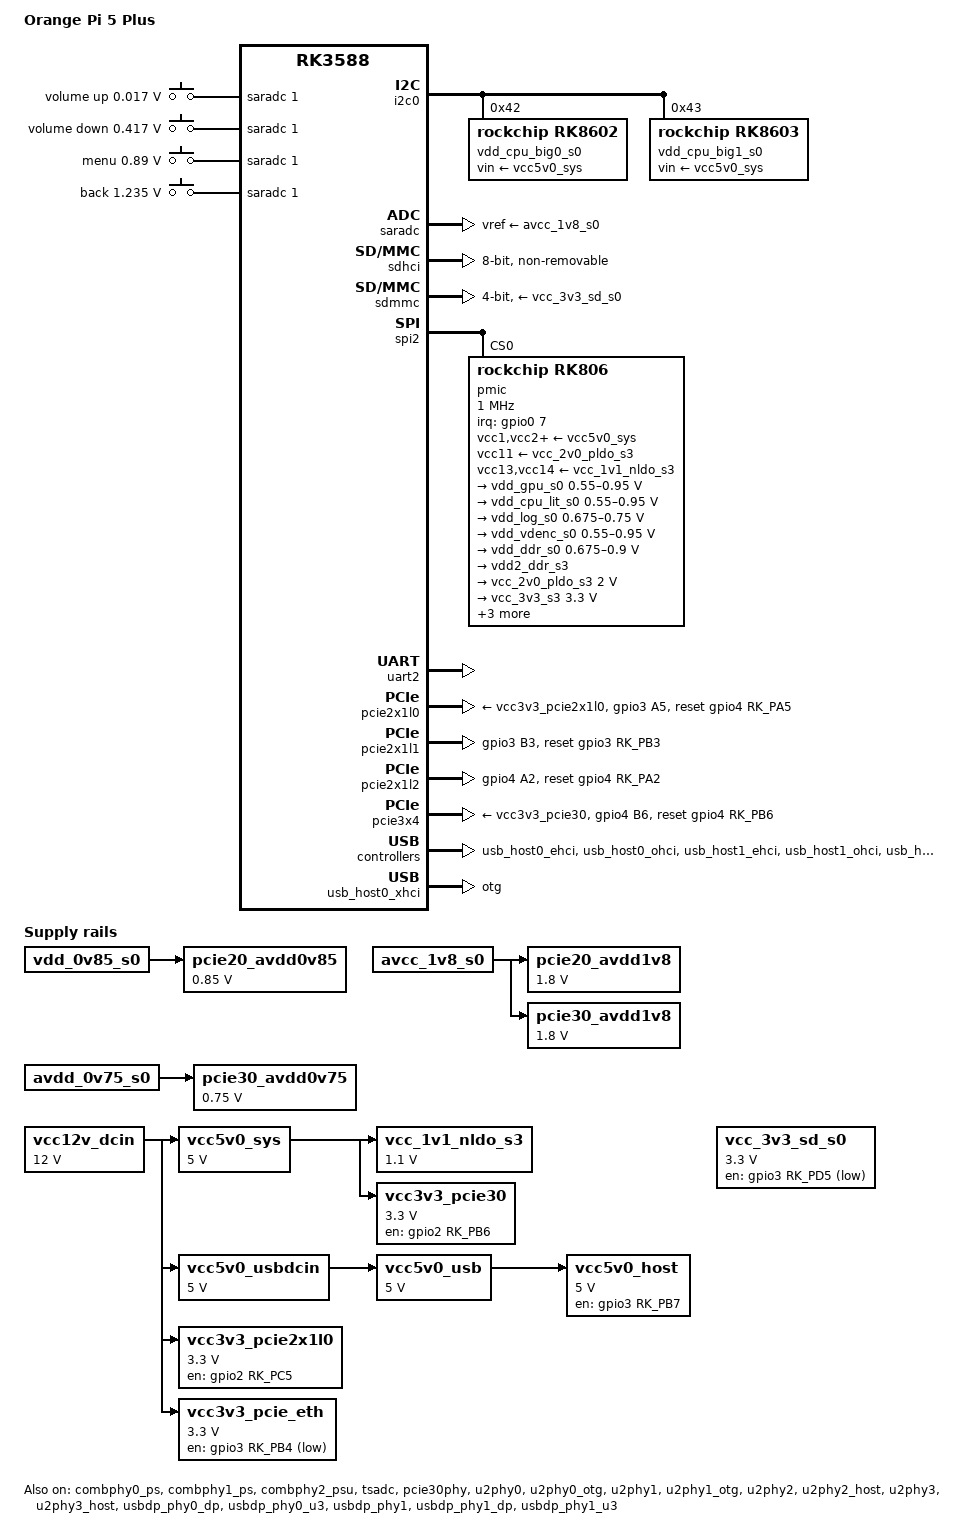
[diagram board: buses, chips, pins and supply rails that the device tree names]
// SPDX-License-Identifier: (GPL-2.0+ OR MIT)

/dts-v1/;

#include <dt-bindings/pinctrl/rockchip.h>
#include <dt-bindings/gpio/gpio.h>
#include <dt-bindings/input/input.h>
#include <dt-bindings/usb/pd.h>
#include "rk3588.dtsi"

/ {
	model = "Orange Pi 5 Plus";
	compatible = "xunlong,orangepi-5-plus", "rockchip,rk3588";

	aliases {
		mmc0 = &sdhci;
		mmc1 = &sdmmc;
		serial2 = &uart2;
	};

	chosen {
		stdout-path = "serial2:1500000n8";
	};

	adc_keys: adc-keys {
		compatible = "adc-keys";
		io-channels = <&saradc 1>;
		io-channel-names = "buttons";
		keyup-threshold-microvolt = <1800000>;
		poll-interval = <100>;

		vol-up-key {
			label = "volume up";
			linux,code = <KEY_VOLUMEUP>;
			press-threshold-microvolt = <17000>;
		};

		vol-down-key {
			label = "volume down";
			linux,code = <KEY_VOLUMEDOWN>;
			press-threshold-microvolt = <417000>;
		};

		menu-key {
			label = "menu";
			linux,code = <KEY_MENU>;
			press-threshold-microvolt = <890000>;
		};

		back-key {
			label = "back";
			linux,code = <KEY_BACK>;
			press-threshold-microvolt = <1235000>;
		};
	};

	vcc12v_dcin: vcc12v-dcin-regulator {
		compatible = "regulator-fixed";
		regulator-name = "vcc12v_dcin";
		regulator-always-on;
		regulator-boot-on;
		regulator-min-microvolt = <12000000>;
		regulator-max-microvolt = <12000000>;
	};

	vcc5v0_sys: vcc5v0-sys-regulator {
		compatible = "regulator-fixed";
		regulator-name = "vcc5v0_sys";
		regulator-always-on;
		regulator-boot-on;
		regulator-min-microvolt = <5000000>;
		regulator-max-microvolt = <5000000>;
		vin-supply = <&vcc12v_dcin>;
	};

	vcc_1v1_nldo_s3: vcc-1v1-nldo-s3-regulator {
		compatible = "regulator-fixed";
		regulator-name = "vcc_1v1_nldo_s3";
		regulator-always-on;
		regulator-boot-on;
		regulator-min-microvolt = <1100000>;
		regulator-max-microvolt = <1100000>;
		vin-supply = <&vcc5v0_sys>;
	};

	vcc_3v3_sd_s0: vcc-3v3-sd-s0-regulator {
		compatible = "regulator-fixed";
		regulator-name = "vcc_3v3_sd_s0";
		regulator-min-microvolt = <3300000>;
		regulator-max-microvolt = <3300000>;
		gpios = <&gpio3 RK_PD5 GPIO_ACTIVE_LOW>;
		pinctrl-names = "default";
		pinctrl-0 = <&sdmmc_pwr>;
		enable-active-low;
	};

	vcc5v0_usbdcin: vcc5v0-usbdcin-regulator {
		compatible = "regulator-fixed";
		regulator-name = "vcc5v0_usbdcin";
		regulator-always-on;
		regulator-boot-on;
		regulator-min-microvolt = <5000000>;
		regulator-max-microvolt = <5000000>;
		vin-supply = <&vcc12v_dcin>;
	};

	vcc5v0_usb: vcc5v0-usb-regulator {
		compatible = "regulator-fixed";
		regulator-name = "vcc5v0_usb";
		regulator-always-on;
		regulator-boot-on;
		regulator-min-microvolt = <5000000>;
		regulator-max-microvolt = <5000000>;
		vin-supply = <&vcc5v0_usbdcin>;
	};

	pcie20_avdd0v85: pcie20-avdd0v85-regulator {
		compatible = "regulator-fixed";
		regulator-name = "pcie20_avdd0v85";
		regulator-boot-on;
		regulator-always-on;
		regulator-min-microvolt = <850000>;
		regulator-max-microvolt = <850000>;
		vin-supply = <&vdd_0v85_s0>;
	};

	pcie20_avdd1v8: pcie20-avdd1v8-regulator {
		compatible = "regulator-fixed";
		regulator-name = "pcie20_avdd1v8";
		regulator-boot-on;
		regulator-always-on;
		regulator-min-microvolt = <1800000>;
		regulator-max-microvolt = <1800000>;
		vin-supply = <&avcc_1v8_s0>;
	};

	pcie30_avdd0v75: pcie30-avdd0v75-regulator {
		compatible = "regulator-fixed";
		regulator-name = "pcie30_avdd0v75";
		regulator-boot-on;
		regulator-always-on;
		regulator-min-microvolt = <750000>;
		regulator-max-microvolt = <750000>;
		vin-supply = <&avdd_0v75_s0>;
	};

	pcie30_avdd1v8: pcie30-avdd1v8-regulator {
		compatible = "regulator-fixed";
		regulator-name = "pcie30_avdd1v8";
		regulator-boot-on;
		regulator-always-on;
		regulator-min-microvolt = <1800000>;
		regulator-max-microvolt = <1800000>;
		vin-supply = <&avcc_1v8_s0>;
	};

	vcc3v3_pcie30: vcc3v3-pcie30-regulator {
		compatible = "regulator-fixed";
		regulator-name = "vcc3v3_pcie30";
		regulator-min-microvolt = <3300000>;
		regulator-max-microvolt = <3300000>;
		enable-active-high;
		gpios = <&gpio2 RK_PB6 GPIO_ACTIVE_HIGH>;
		startup-delay-us = <5000>;
		vin-supply = <&vcc5v0_sys>;
		pinctrl-names = "default";
		pinctrl-0 = <&pcie3_vcc3v3_en>;
	};

	vcc3v3_pcie2x1l0: vcc3v3-pcie2x1l0-regulator {
		compatible = "regulator-fixed";
		regulator-name = "vcc3v3_pcie2x1l0";
		regulator-min-microvolt = <3300000>;
		regulator-max-microvolt = <3300000>;
		enable-active-high;
		regulator-boot-on;
		regulator-always-on;
		gpios = <&gpio2 RK_PC5 GPIO_ACTIVE_HIGH>;
		pinctrl-names = "default";
		pinctrl-0 = <&pcie2_0_vcc3v3_en>;
		startup-delay-us = <50000>;
		vin-supply = <&vcc12v_dcin>;
	};

	vcc3v3_pcie_eth: vcc3v3-pcie-eth-regulator {
		compatible = "regulator-fixed";
		regulator-name = "vcc3v3_pcie_eth";
		regulator-min-microvolt = <3300000>;
		regulator-max-microvolt = <3300000>;
		regulator-boot-on;
		regulator-always-on;
		enable-active-low;
		gpios = <&gpio3 RK_PB4 GPIO_ACTIVE_LOW>;
		startup-delay-us = <50000>;
		vin-supply = <&vcc12v_dcin>;
	};

	vcc5v0_host: vcc5v0-host-regulator {
		compatible = "regulator-fixed";
		regulator-name = "vcc5v0_host";
		regulator-boot-on;
		regulator-always-on;
		regulator-min-microvolt = <5000000>;
		regulator-max-microvolt = <5000000>;
		enable-active-high;
		gpio = <&gpio3 RK_PB7 GPIO_ACTIVE_HIGH>;
		vin-supply = <&vcc5v0_usb>;
		pinctrl-names = "default";
		pinctrl-0 = <&vcc5v0_host_en>;
	};
};

&combphy0_ps {
	status = "okay";
};

&combphy1_ps {
	status = "okay";
};

&combphy2_psu {
	status = "okay";
};

&cpu_b0 {
	cpu-supply = <&vdd_cpu_big0_s0>;
	mem-supply = <&vdd_cpu_big0_mem_s0>;
};

&cpu_b1 {
	cpu-supply = <&vdd_cpu_big0_s0>;
	mem-supply = <&vdd_cpu_big0_mem_s0>;
};

&cpu_b2 {
	cpu-supply = <&vdd_cpu_big1_s0>;
	mem-supply = <&vdd_cpu_big1_mem_s0>;
};

&cpu_b3 {
	cpu-supply = <&vdd_cpu_big1_s0>;
	mem-supply = <&vdd_cpu_big1_mem_s0>;
};

&cpu_l0 {
	cpu-supply = <&vdd_cpu_lit_s0>;
	mem-supply = <&vdd_cpu_lit_mem_s0>;
};

&cpu_l1 {
	cpu-supply = <&vdd_cpu_lit_s0>;
	mem-supply = <&vdd_cpu_lit_mem_s0>;
};

&cpu_l2 {
	cpu-supply = <&vdd_cpu_lit_s0>;
	mem-supply = <&vdd_cpu_lit_mem_s0>;
};

&cpu_l3 {
	cpu-supply = <&vdd_cpu_lit_s0>;
	mem-supply = <&vdd_cpu_lit_mem_s0>;
};

&i2c0 {
	pinctrl-names = "default";
	pinctrl-0 = <&i2c0m2_xfer>;
	status = "okay";

	vdd_cpu_big0_s0: vdd_cpu_big0_mem_s0: regulator@42 {
		compatible = "rockchip,rk8602";
		reg = <0x42>;
		fcs,suspend-voltage-selector = <1>;
		regulator-name = "vdd_cpu_big0_s0";
		regulator-always-on;
		regulator-boot-on;
		regulator-min-microvolt = <550000>;
		regulator-max-microvolt = <1050000>;
		regulator-ramp-delay = <2300>;
		vin-supply = <&vcc5v0_sys>;

		regulator-state-mem {
			regulator-off-in-suspend;
		};
	};

	vdd_cpu_big1_s0: vdd_cpu_big1_mem_s0: regulator@43 {
		compatible = "rockchip,rk8603", "rockchip,rk8602";
		reg = <0x43>;
		fcs,suspend-voltage-selector = <1>;
		regulator-name = "vdd_cpu_big1_s0";
		regulator-always-on;
		regulator-boot-on;
		regulator-min-microvolt = <550000>;
		regulator-max-microvolt = <1050000>;
		regulator-ramp-delay = <2300>;
		vin-supply = <&vcc5v0_sys>;

		regulator-state-mem {
			regulator-off-in-suspend;
		};
	};
};

&pinctrl {
	pcie2 {
		pcie2_0_rst: pcie2-0-rst {
			rockchip,pins = <3 RK_PA5 RK_FUNC_GPIO &pcfg_pull_none>;
		};

		pcie2_1_rst: pcie2-1-rst {
			rockchip,pins = <3 RK_PB3 RK_FUNC_GPIO &pcfg_pull_none>;
		};

		pcie2_2_rst: pcie2-2-rst {
			rockchip,pins = <4 RK_PA2 RK_FUNC_GPIO &pcfg_pull_none>;
		};

		pcie2_0_vcc3v3_en: pcie2-0-vcc-en {
			rockchip,pins = <2 RK_PC5 RK_FUNC_GPIO &pcfg_pull_none>;
		};
	};

	pcie3 {
		pcie3_rst: pcie3-rst {
			rockchip,pins = <4 RK_PB6 RK_FUNC_GPIO &pcfg_pull_none>;
		};

		pcie3_vcc3v3_en: pcie3-vcc3v3-en {
			rockchip,pins = <2 RK_PB6 RK_FUNC_GPIO &pcfg_pull_none>;
		};
	};

	usb {
		vcc5v0_host_en: vcc5v0-host-en {
			rockchip,pins = <3 RK_PB7 RK_FUNC_GPIO &pcfg_pull_none>;
		};
	};

	sdmmc {
		sdmmc_pwr: sdmmc_pwr {
			rockchip,pins = <3 RK_PD5 RK_FUNC_GPIO &pcfg_pull_down>;
		};
	};
};

&saradc {
	vref-supply = <&avcc_1v8_s0>;
	status = "okay";
};

&sdhci {
	bus-width = <8>;
	no-sdio;
	no-sd;
	non-removable;
	max-frequency = <200000000>;
	mmc-hs400-1_8v;
	mmc-hs400-enhanced-strobe;
	status = "okay";
};

&sdmmc {
	max-frequency = <150000000>;
	no-sdio;
	no-mmc;
	bus-width = <4>;
	cap-mmc-highspeed;
	cap-sd-highspeed;
	disable-wp;
	sd-uhs-sdr104;
	vmmc-supply = <&vcc_3v3_sd_s0>;
	vqmmc-supply = <&vccio_sd_s0>;
	status = "okay";
};

&spi2 {
	status = "okay";
	assigned-clocks = <&cru CLK_SPI2>;
	assigned-clock-rates = <200000000>;
	pinctrl-names = "default";
	pinctrl-0 = <&spi2m2_cs0 &spi2m2_pins>;
	num-cs = <1>;

	pmic@0 {
		compatible = "rockchip,rk806";
		spi-max-frequency = <1000000>;
		reg = <0x0>;

		interrupt-parent = <&gpio0>;
		interrupts = <7 IRQ_TYPE_LEVEL_LOW>;

		pinctrl-names = "default";
		pinctrl-0 = <&pmic_pins>, <&rk806_dvs1_null>,
			    <&rk806_dvs2_null>, <&rk806_dvs3_null>;

		vcc1-supply = <&vcc5v0_sys>;
		vcc2-supply = <&vcc5v0_sys>;
		vcc3-supply = <&vcc5v0_sys>;
		vcc4-supply = <&vcc5v0_sys>;
		vcc5-supply = <&vcc5v0_sys>;
		vcc6-supply = <&vcc5v0_sys>;
		vcc7-supply = <&vcc5v0_sys>;
		vcc8-supply = <&vcc5v0_sys>;
		vcc9-supply = <&vcc5v0_sys>;
		vcc10-supply = <&vcc5v0_sys>;
		vcc11-supply = <&vcc_2v0_pldo_s3>;
		vcc12-supply = <&vcc5v0_sys>;
		vcc13-supply = <&vcc_1v1_nldo_s3>;
		vcc14-supply = <&vcc_1v1_nldo_s3>;
		vcca-supply = <&vcc5v0_sys>;

		gpio-controller;
		#gpio-cells = <2>;

		rk806_dvs1_null: dvs1-null-pins {
			pins = "gpio_pwrctrl2";
			function = "pin_fun0";
		};

		rk806_dvs2_null: dvs2-null-pins {
			pins = "gpio_pwrctrl2";
			function = "pin_fudr_moden0";
		};

		rk806_dvs3_null: dvs3-null-pins {
			pins = "gpio_pwrctrl3";
			function = "pin_fun0";
		};

		regulators {
			vdd_gpu_s0: vdd_gpu_mem_s0: dcdc-reg1 {
				regulator-boot-on;
				regulator-min-microvolt = <550000>;
				regulator-max-microvolt = <950000>;
				regulator-ramp-delay = <12500>;
				regulator-name = "vdd_gpu_s0";
				regulator-enable-ramp-delay = <400>;

				regulator-state-mem {
					regulator-off-in-suspend;
				};
			};

			vdd_cpu_lit_s0: vdd_cpu_lit_mem_s0: dcdc-reg2 {
				regulator-always-on;
				regulator-boot-on;
				regulator-min-microvolt = <550000>;
				regulator-max-microvolt = <950000>;
				regulator-ramp-delay = <12500>;
				regulator-name = "vdd_cpu_lit_s0";

				regulator-state-mem {
					regulator-off-in-suspend;
				};
			};

			vdd_log_s0: dcdc-reg3 {
				regulator-always-on;
				regulator-boot-on;
				regulator-min-microvolt = <675000>;
				regulator-max-microvolt = <750000>;
				regulator-ramp-delay = <12500>;
				regulator-name = "vdd_log_s0";

				regulator-state-mem {
					regulator-off-in-suspend;
					regulator-suspend-microvolt = <750000>;
				};
			};

			vdd_vdenc_s0: vdd_vdenc_mem_s0: dcdc-reg4 {
				regulator-always-on;
				regulator-boot-on;
				regulator-min-microvolt = <550000>;
				regulator-max-microvolt = <950000>;
				regulator-init-microvolt = <750000>;
				regulator-ramp-delay = <12500>;
				regulator-name = "vdd_vdenc_s0";

				regulator-state-mem {
					regulator-off-in-suspend;
				};
			};

			vdd_ddr_s0: dcdc-reg5 {
				regulator-always-on;
				regulator-boot-on;
				regulator-min-microvolt = <675000>;
				regulator-max-microvolt = <900000>;
				regulator-ramp-delay = <12500>;
				regulator-name = "vdd_ddr_s0";

				regulator-state-mem {
					regulator-off-in-suspend;
					regulator-suspend-microvolt = <850000>;
				};
			};

			vdd2_ddr_s3: dcdc-reg6 {
				regulator-always-on;
				regulator-boot-on;
				regulator-name = "vdd2_ddr_s3";

				regulator-state-mem {
					regulator-on-in-suspend;
				};
			};

			vcc_2v0_pldo_s3: dcdc-reg7 {
				regulator-always-on;
				regulator-boot-on;
				regulator-min-microvolt = <2000000>;
				regulator-max-microvolt = <2000000>;
				regulator-ramp-delay = <12500>;
				regulator-name = "vdd_2v0_pldo_s3";

				regulator-state-mem {
					regulator-on-in-suspend;
					regulator-suspend-microvolt = <2000000>;
				};
			};

			vcc_3v3_s3: dcdc-reg8 {
				regulator-always-on;
				regulator-boot-on;
				regulator-min-microvolt = <3300000>;
				regulator-max-microvolt = <3300000>;
				regulator-name = "vcc_3v3_s3";

				regulator-state-mem {
					regulator-on-in-suspend;
					regulator-suspend-microvolt = <3300000>;
				};
			};

			vddq_ddr_s0: dcdc-reg9 {
				regulator-always-on;
				regulator-boot-on;
				regulator-name = "vddq_ddr_s0";

				regulator-state-mem {
					regulator-off-in-suspend;
				};
			};

			vcc_1v8_s3: dcdc-reg10 {
				regulator-always-on;
				regulator-boot-on;
				regulator-min-microvolt = <1800000>;
				regulator-max-microvolt = <1800000>;
				regulator-name = "vcc_1v8_s3";

				regulator-state-mem {
					regulator-on-in-suspend;
					regulator-suspend-microvolt = <1800000>;
				};
			};

			avcc_1v8_s0: pldo-reg1 {
				regulator-always-on;
				regulator-boot-on;
				regulator-min-microvolt = <1800000>;
				regulator-max-microvolt = <1800000>;
				regulator-name = "avcc_1v8_s0";

				regulator-state-mem {
					regulator-off-in-suspend;
				};
			};

			vcc_1v8_s0: pldo-reg2 {
				regulator-always-on;
				regulator-boot-on;
				regulator-min-microvolt = <1800000>;
				regulator-max-microvolt = <1800000>;
				regulator-name = "vcc_1v8_s0";

				regulator-state-mem {
					regulator-off-in-suspend;
					regulator-suspend-microvolt = <1800000>;
				};
			};

			avdd_1v2_s0: pldo-reg3 {
				regulator-always-on;
				regulator-boot-on;
				regulator-min-microvolt = <1200000>;
				regulator-max-microvolt = <1200000>;
				regulator-name = "avdd_1v2_s0";

				regulator-state-mem {
					regulator-off-in-suspend;
				};
			};

			vcc_3v3_s0: pldo-reg4 {
				regulator-always-on;
				regulator-boot-on;
				regulator-min-microvolt = <3300000>;
				regulator-max-microvolt = <3300000>;
				regulator-ramp-delay = <12500>;
				regulator-name = "vcc_3v3_s0";

				regulator-state-mem {
					regulator-off-in-suspend;
				};
			};

			vccio_sd_s0: pldo-reg5 {
				regulator-always-on;
				regulator-boot-on;
				regulator-min-microvolt = <1800000>;
				regulator-max-microvolt = <3300000>;
				regulator-ramp-delay = <12500>;
				regulator-name = "vccio_sd_s0";

				regulator-state-mem {
					regulator-off-in-suspend;
				};
			};

			pldo6_s3: pldo-reg6 {
				regulator-always-on;
				regulator-boot-on;
				regulator-min-microvolt = <1800000>;
				regulator-max-microvolt = <1800000>;
				regulator-name = "pldo6_s3";

				regulator-state-mem {
					regulator-on-in-suspend;
					regulator-suspend-microvolt = <1800000>;
				};
			};

			vdd_0v75_s3: nldo-reg1 {
				regulator-always-on;
				regulator-boot-on;
				regulator-min-microvolt = <750000>;
				regulator-max-microvolt = <750000>;
				regulator-name = "vdd_0v75_s3";

				regulator-state-mem {
					regulator-on-in-suspend;
					regulator-suspend-microvolt = <750000>;
				};
			};

			vdd_ddr_pll_s0: nldo-reg2 {
				regulator-always-on;
				regulator-boot-on;
				regulator-min-microvolt = <850000>;
				regulator-max-microvolt = <850000>;
				regulator-name = "vdd_ddr_pll_s0";

				regulator-state-mem {
					regulator-off-in-suspend;
					regulator-suspend-microvolt = <850000>;
				};
			};

			avdd_0v75_s0: nldo-reg3 {
				regulator-always-on;
				regulator-boot-on;
				regulator-min-microvolt = <750000>;
				regulator-max-microvolt = <750000>;
				regulator-name = "avdd_0v75_s0";

				regulator-state-mem {
					regulator-off-in-suspend;
				};
			};

			vdd_0v85_s0: nldo-reg4 {
				regulator-always-on;
				regulator-boot-on;
				regulator-min-microvolt = <850000>;
				regulator-max-microvolt = <850000>;
				regulator-name = "vdd_0v85_s0";

				regulator-state-mem {
					regulator-off-in-suspend;
				};
			};

			vdd_0v75_s0: nldo-reg5 {
				regulator-always-on;
				regulator-boot-on;
				regulator-min-microvolt = <750000>;
				regulator-max-microvolt = <750000>;
				regulator-name = "vdd_0v75_s0";

				regulator-state-mem {
					regulator-off-in-suspend;
				};
			};
		};
	};
};

&uart2 {
	pinctrl-0 = <&uart2m0_xfer>;
	status = "okay";
};

&tsadc {
	status = "okay";
};

&pcie2x1l0 {
	reset-gpios = <&gpio4 RK_PA5 GPIO_ACTIVE_HIGH>;
	vpcie3v3-supply = <&vcc3v3_pcie2x1l0>;
	pinctrl-names = "default";
	pinctrl-0 = <&pcie2_0_rst>;
	status = "okay";
};

&pcie2x1l1 {
	reset-gpios = <&gpio3 RK_PB3 GPIO_ACTIVE_HIGH>;
	pinctrl-names = "default";
	pinctrl-0 = <&pcie2_1_rst>;
	status = "okay";
};

&pcie2x1l2 {
	reset-gpios = <&gpio4 RK_PA2 GPIO_ACTIVE_HIGH>;
	pinctrl-names = "default";
	pinctrl-0 = <&pcie2_2_rst>;
	status = "okay";
};

&pcie30phy {
	status = "okay";
};

&pcie3x4 {
	reset-gpios = <&gpio4 RK_PB6 GPIO_ACTIVE_HIGH>;
	vpcie3v3-supply = <&vcc3v3_pcie30>;
	pinctrl-names = "default";
	pinctrl-0 = <&pcie3_rst>;
	status = "okay";
};

&u2phy0 {
	status = "okay";
};

&u2phy0_otg {
	rockchip,typec-vbus-det;
	status = "okay";
};

&u2phy1 {
	status = "okay";
};

&u2phy1_otg {
	phy-supply = <&vcc5v0_host>;
	status = "okay";
};

&u2phy2 {
	status = "okay";
};

&u2phy2_host {
	phy-supply = <&vcc5v0_host>;
	status = "okay";
};

&u2phy3 {
	status = "okay";
};

&u2phy3_host {
	phy-supply = <&vcc5v0_host>;
	status = "okay";
};

&usbdp_phy0_dp {
	status = "okay";
};

&usbdp_phy0_u3 {
	status = "okay";
};

&usbdp_phy1 {
	rockchip,dp-lane-mux = <2 3>;
	status = "okay";
};

&usbdp_phy1_dp {
	status = "okay";
};

&usbdp_phy1_u3 {
	status = "okay";
};

&usb_host0_ehci {
	status = "okay";
};

&usb_host0_ohci {
	status = "okay";
};

&usb_host0_xhci {
	usb-role-switch;
	dr_mode = "otg";
	status = "okay";
};

&usb_host1_ehci {
	status = "okay";
};

&usb_host1_ohci {
	status = "okay";
};

&usb_host1_xhci {
	status = "okay";
};
